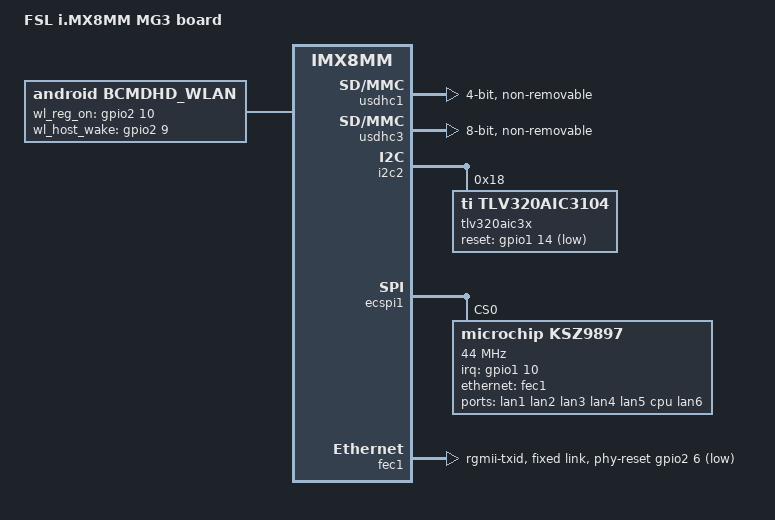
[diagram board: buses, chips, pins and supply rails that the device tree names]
// SPDX-License-Identifier: (GPL-2.0+ OR MIT)
/*
 * Copyright 2019-2020 NXP
 */

/dts-v1/;

#include <dt-bindings/usb/pd.h>
#include "imx8mm-mg3.dtsi"

/ {
	model = "FSL i.MX8MM MG3 board";
	compatible = "fsl,imx8mm-mg3", "fsl,imx8mm";

	bcmdhd {
        	compatible = "android,bcmdhd_wlan";
		pinctrl-names = "default";
		pinctrl-0 = <&pinctrl_usdhc1_gpio>;
	        gpio_wl_reg_on = <&gpio2 10 GPIO_ACTIVE_HIGH>;
	        gpio_wl_host_wake = <&gpio2 9 GPIO_ACTIVE_HIGH>;
	};

	sound_tlv320aic3104: sound-tlv320aic3104 {
		compatible = "simple-audio-card";
		simple-audio-card,name = "tlv320aic3104-audio";
		simple-audio-card,format = "i2s";
		simple-audio-card,frame-master = <&codecdai>;
		simple-audio-card,bitclock-master = <&codecdai>;
		simple-audio-card,widgets =
			"Line", "Line Out",
			"Line", "Line IN";
		simple-audio-card,routing =
			"Line Out", "LLOUT",
			"Line Out", "RLOUT",
			"LINE1L", "Line IN",
			"LINE1R", "Line IN";

		cpudai: simple-audio-card,cpu {
			sound-dai = <&sai3>;
	/*		dai-tdm-slot-num = <2>;
			dai-tdm-slot-width = <32>;*/
		};

		codecdai: simple-audio-card,codec {
			sound-dai = <&tlv320aic3x>;
			clocks = <&clk IMX8MM_CLK_SAI3_ROOT>;
		};
	};
};

&ddrc {
	operating-points-v2 = <&ddrc_opp_table>;

	ddrc_opp_table: opp-table {
		compatible = "operating-points-v2";

		opp-25M {
			opp-hz = /bits/ 64 <25000000>;
		};

		opp-100M {
			opp-hz = /bits/ 64 <100000000>;
		};

		opp-750M {
			opp-hz = /bits/ 64 <750000000>;
		};
	};
};

&usdhc1 {
	pinctrl-names = "default", "state_100mhz", "state_200mhz";
	pinctrl-0 = <&pinctrl_usdhc1>, <&pinctrl_wlan>;
	pinctrl-1 = <&pinctrl_usdhc1_100mhz>, <&pinctrl_wlan>;
	pinctrl-2 = <&pinctrl_usdhc1_200mhz>, <&pinctrl_wlan>;
	bus-width = <4>;
	cap-power-off-card;
	pm-ignore-notify;
	keep-power-in-suspend;
	non-removable;
	status = "okay";
};

&usdhc3 {
	assigned-clocks = <&clk IMX8MM_CLK_USDHC3_ROOT>;
	assigned-clock-rates = <400000000>;
	pinctrl-names = "default", "state_100mhz", "state_200mhz";
	pinctrl-0 = <&pinctrl_usdhc3>;
	pinctrl-1 = <&pinctrl_usdhc3_100mhz>;
	pinctrl-2 = <&pinctrl_usdhc3_200mhz>;
	bus-width = <8>;
	non-removable;
	status = "okay";
};

&iomuxc {

	pinctrl_usdhc3: usdhc3grp {
		fsl,pins = <
			MX8MM_IOMUXC_NAND_WE_B_USDHC3_CLK               0x190
			MX8MM_IOMUXC_NAND_WP_B_USDHC3_CMD               0x1d0
			MX8MM_IOMUXC_NAND_DATA04_USDHC3_DATA0           0x1d0
			MX8MM_IOMUXC_NAND_DATA05_USDHC3_DATA1           0x1d0
			MX8MM_IOMUXC_NAND_DATA06_USDHC3_DATA2           0x1d0
			MX8MM_IOMUXC_NAND_DATA06_USDHC3_DATA2           0x1d0
			MX8MM_IOMUXC_NAND_DATA07_USDHC3_DATA3           0x1d0
			MX8MM_IOMUXC_NAND_RE_B_USDHC3_DATA4             0x1d0
			MX8MM_IOMUXC_NAND_CE2_B_USDHC3_DATA5            0x1d0
			MX8MM_IOMUXC_NAND_CE3_B_USDHC3_DATA6            0x1d0
			MX8MM_IOMUXC_NAND_CLE_USDHC3_DATA7              0x1d0
			MX8MM_IOMUXC_NAND_CE1_B_USDHC3_STROBE           0x190
		>;
	};

	pinctrl_usdhc3_100mhz: usdhc3-100mhzgrp {
		fsl,pins = <
			MX8MM_IOMUXC_NAND_WE_B_USDHC3_CLK               0x194
			MX8MM_IOMUXC_NAND_WP_B_USDHC3_CMD               0x1d4
			MX8MM_IOMUXC_NAND_DATA04_USDHC3_DATA0           0x1d4
			MX8MM_IOMUXC_NAND_DATA05_USDHC3_DATA1           0x1d4
			MX8MM_IOMUXC_NAND_DATA06_USDHC3_DATA2           0x1d4
			MX8MM_IOMUXC_NAND_DATA07_USDHC3_DATA3           0x1d4
			MX8MM_IOMUXC_NAND_RE_B_USDHC3_DATA4             0x1d4
			MX8MM_IOMUXC_NAND_CE2_B_USDHC3_DATA5            0x1d4
			MX8MM_IOMUXC_NAND_CE3_B_USDHC3_DATA6            0x1d4
			MX8MM_IOMUXC_NAND_CLE_USDHC3_DATA7              0x1d4
			MX8MM_IOMUXC_NAND_CE1_B_USDHC3_STROBE           0x194
		>;
	};

	pinctrl_usdhc3_200mhz: usdhc3-200mhzgrp {
		fsl,pins = <
			MX8MM_IOMUXC_NAND_WE_B_USDHC3_CLK               0x196
			MX8MM_IOMUXC_NAND_WP_B_USDHC3_CMD               0x1d6
			MX8MM_IOMUXC_NAND_DATA04_USDHC3_DATA0           0x1d6
			MX8MM_IOMUXC_NAND_DATA05_USDHC3_DATA1           0x1d6
			MX8MM_IOMUXC_NAND_DATA06_USDHC3_DATA2           0x1d6
			MX8MM_IOMUXC_NAND_DATA07_USDHC3_DATA3           0x1d6
			MX8MM_IOMUXC_NAND_RE_B_USDHC3_DATA4             0x1d6
			MX8MM_IOMUXC_NAND_CE2_B_USDHC3_DATA5            0x1d6
			MX8MM_IOMUXC_NAND_CE3_B_USDHC3_DATA6            0x1d6
			MX8MM_IOMUXC_NAND_CLE_USDHC3_DATA7              0x1d6
			MX8MM_IOMUXC_NAND_CE1_B_USDHC3_STROBE           0x196
		>;
	};

	pinctrl_wlan: wlangrp {
		fsl,pins = <
			MX8MM_IOMUXC_SD1_DATA7_GPIO2_IO9		0x159
		>;
	};

       pinctrl_usdhc1_gpio: usdhc1grpgpio {
               fsl,pins = <
                       MX8MM_IOMUXC_SD1_RESET_B_GPIO2_IO10     0x41
               >;
       };

	pinctrl_audio_reset: audio-reset {
		fsl,pins = <
			MX8MM_IOMUXC_GPIO1_IO14_GPIO1_IO14      0x13
		>;
	};

};

&i2c2 {
	tlv320aic3x: tlv320aic3x@18 {
		#sound-dai-cells = <0>;
		compatible = "ti,tlv320aic3104";
		pinctrl-0 = <&pinctrl_audio_reset>;
		reg = <0x18>;
		status = "okay";
		ai3x-micbias-vg = <0x3>;
		gpio-reset = <&gpio1 14 GPIO_ACTIVE_LOW>;
	};
};

&snvs_rtc {
	status = "disabled";
};

&pinctrl_fec1 {
	/delete-property/fsl,pins;
	fsl,pins = <
		MX8MM_IOMUXC_ENET_MDC_ENET1_MDC			0x3
		MX8MM_IOMUXC_ENET_MDIO_ENET1_MDIO		0x3
		MX8MM_IOMUXC_ENET_TD3_ENET1_RGMII_TD3		0x1f
		MX8MM_IOMUXC_ENET_TD2_ENET1_RGMII_TD2		0x1f
		MX8MM_IOMUXC_ENET_TD1_ENET1_RGMII_TD1		0x1f
		MX8MM_IOMUXC_ENET_TD0_ENET1_RGMII_TD0		0x1f
		MX8MM_IOMUXC_ENET_RD3_ENET1_RGMII_RD3		0x91
		MX8MM_IOMUXC_ENET_RD2_ENET1_RGMII_RD2		0x91
		MX8MM_IOMUXC_ENET_RD1_ENET1_RGMII_RD1		0x91
		MX8MM_IOMUXC_ENET_RD0_ENET1_RGMII_RD0		0x91
		MX8MM_IOMUXC_ENET_TXC_ENET1_RGMII_TXC		0x1f
		MX8MM_IOMUXC_ENET_RXC_ENET1_RGMII_RXC		0x91
		MX8MM_IOMUXC_ENET_RX_CTL_ENET1_RGMII_RX_CTL	0x91
		MX8MM_IOMUXC_ENET_TX_CTL_ENET1_RGMII_TX_CTL	0x1f
		MX8MM_IOMUXC_SD1_DATA4_GPIO2_IO6        0x153
	>;
};

&ecspi1 {
	ksz9897: ksz9897@0 {
		compatible = "microchip,ksz9897";
		reg = <0>;

		spi-max-frequency = <44000000>;
		spi-cpha;
		spi-cpol;
		interrupt-parent = <&gpio1>;
		interrupts = <10 IRQ_TYPE_LEVEL_LOW>;

		ports {
			#address-cells = <1>;
			#size-cells = <0>;
			port@0 {
				reg = <0>;
				label = "lan1";
			};
			port@1 {
				reg = <1>;
				label = "lan2";
			};
			port@2 {
				reg = <2>;
				label = "lan3";
			};
			port@3 {
				reg = <3>;
				label = "lan4";
			};
			port@4 {
				reg = <4>;
				label = "lan5";
			};
			port@5 {
				reg = <5>;
				label = "cpu";
				ethernet = <&fec1>;
				fixed-link {
					speed = <1000>;
					full-duplex;
				};
			};
			port@6 {
				reg = <6>;
				label = "lan6";
				fixed-link {
					speed = <100>;
					full-duplex;
				};
			};
		};
	};
};

&fec1 {
	pinctrl-names = "default";
	pinctrl-0 = <&pinctrl_fec1>;
	phy-mode = "rgmii-txid";
	fsl,magic-packet;
	phy-reset-gpios = <&gpio2 6 GPIO_ACTIVE_LOW>;
	phy-reset-duration = <10>;
	phy-reset-post-delay = <50>;
	status = "okay";

	#address-cells = <1>;
	#size-cells = <0>;
	status = "okay";

	fixed-link {
		speed = <1000>;
		full-duplex;
	};
};
